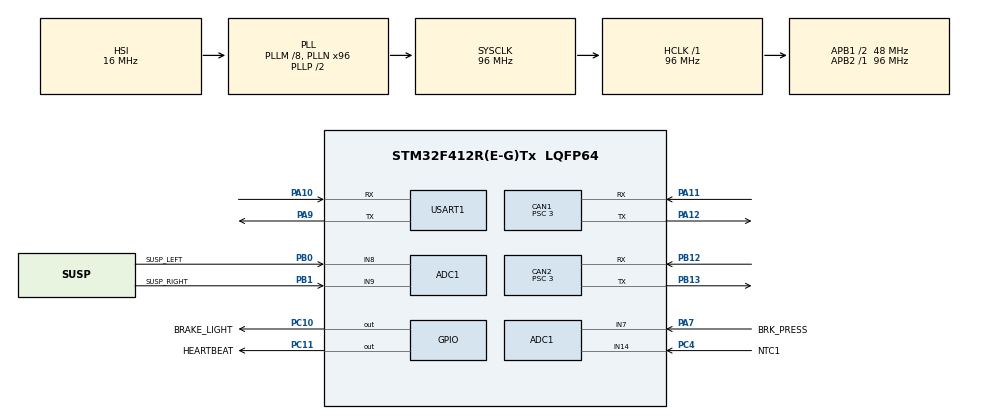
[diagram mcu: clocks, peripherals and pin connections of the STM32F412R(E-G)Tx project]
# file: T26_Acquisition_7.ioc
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ADC1.Channel-0\#ChannelRegularConversion=ADC_CHANNEL_7
ADC1.Channel-1\#ChannelRegularConversion=ADC_CHANNEL_8
ADC1.Channel-2\#ChannelRegularConversion=ADC_CHANNEL_9
ADC1.Channel-3\#ChannelRegularConversion=ADC_CHANNEL_14
ADC1.ContinuousConvMode=ENABLE
ADC1.DMAContinuousRequests=ENABLE
ADC1.NbrOfConversion=4
ADC1.NbrOfConversionFlag=1
ADC1.Rank-0\#ChannelRegularConversion=1
ADC1.Rank-1\#ChannelRegularConversion=2
ADC1.Rank-2\#ChannelRegularConversion=3
ADC1.Rank-3\#ChannelRegularConversion=4
ADC1.SamplingTime-0\#ChannelRegularConversion=ADC_SAMPLETIME_480CYCLES
ADC1.SamplingTime-1\#ChannelRegularConversion=ADC_SAMPLETIME_480CYCLES
ADC1.SamplingTime-2\#ChannelRegularConversion=ADC_SAMPLETIME_480CYCLES
ADC1.SamplingTime-3\#ChannelRegularConversion=ADC_SAMPLETIME_480CYCLES
ADC1.ScanConvMode=ENABLE
ADC1.master=1
CAN1.ABOM=ENABLE
CAN1.BS1=CAN_BS1_11TQ
CAN1.BS2=CAN_BS2_4TQ
CAN1.CalculateBaudRate=1000000
CAN1.CalculateTimeBit=1000
CAN1.CalculateTimeQuantum=62.5
CAN1.NART=ENABLE
CAN1.Prescaler=3
CAN1.SJW=CAN_SJW_2TQ
CAN2.ABOM=ENABLE
CAN2.BS1=CAN_BS1_13TQ
CAN2.BS2=CAN_BS2_2TQ
CAN2.CalculateBaudRate=1000000
CAN2.CalculateTimeBit=1000
CAN2.CalculateTimeQuantum=62.5
CAN2.NART=ENABLE
CAN2.Prescaler=3
CAN2.SJW=CAN_SJW_2TQ
Dma.ADC1.0.Direction=DMA_PERIPH_TO_MEMORY
Dma.ADC1.0.FIFOMode=DMA_FIFOMODE_DISABLE
Dma.ADC1.0.Instance=DMA2_Stream0
Dma.ADC1.0.MemDataAlignment=DMA_MDATAALIGN_HALFWORD
Dma.ADC1.0.MemInc=DMA_MINC_ENABLE
Dma.ADC1.0.Mode=DMA_CIRCULAR
Dma.ADC1.0.PeriphDataAlignment=DMA_PDATAALIGN_HALFWORD
Dma.ADC1.0.PeriphInc=DMA_PINC_DISABLE
Dma.ADC1.0.Priority=DMA_PRIORITY_LOW
Dma.Request0=ADC1
IWDG.Prescaler=IWDG_PRESCALER_64
IWDG.Reload=1000
Mcu.Family=STM32F4
Mcu.Name=STM32F412R(E-G)Tx
Mcu.Package=LQFP64
NVIC.CAN1_RX0_IRQn=true\:0\:0\:false\:false\:true\:true\:true\:true
NVIC.CAN1_RX1_IRQn=true\:0\:0\:false\:false\:true\:true\:true\:true
NVIC.CAN1_SCE_IRQn=true\:0\:0\:false\:false\:true\:true\:true\:true
NVIC.CAN1_TX_IRQn=true\:0\:0\:false\:false\:true\:true\:true\:true
NVIC.CAN2_RX0_IRQn=true\:0\:0\:false\:false\:true\:true\:true\:true
NVIC.CAN2_RX1_IRQn=true\:0\:0\:false\:false\:true\:true\:true\:true
NVIC.CAN2_SCE_IRQn=true\:0\:0\:false\:false\:true\:true\:true\:true
NVIC.CAN2_TX_IRQn=true\:0\:0\:false\:false\:true\:true\:true\:true
NVIC.DMA2_Stream0_IRQn=true\:0\:0\:false\:false\:true\:false\:true\:true
NVIC.PriorityGroup=NVIC_PRIORITYGROUP_4
NVIC.TIM7_IRQn=true\:0\:0\:false\:false\:true\:true\:true\:true
PA10.Mode=Asynchronous
PA10.Signal=USART1_RX
PA11.GPIO_PuPd=GPIO_PULLUP
PA11.Mode=CAN_Activate
PA11.Signal=CAN1_RX
PA12.Mode=CAN_Activate
PA12.Signal=CAN1_TX
PA13.Mode=Serial_Wire
PA13.Signal=SYS_JTMS-SWDIO
PA14.Mode=Serial_Wire
PA14.Signal=SYS_JTCK-SWCLK
PA7.GPIO_Label=BRK_PRESS
PA7.Signal=ADCx_IN7
PA9.Mode=Asynchronous
PA9.Signal=USART1_TX
PB0.GPIO_Label=SUSP_LEFT
PB0.Signal=ADCx_IN8
PB1.GPIO_Label=SUSP_RIGHT
PB1.Signal=ADCx_IN9
PB12.GPIO_PuPd=GPIO_PULLUP
PB12.Mode=CAN_Activate
PB12.Signal=CAN2_RX
PB13.Mode=CAN_Activate
PB13.Signal=CAN2_TX
PC10.GPIO_Label=BRAKE_LIGHT
PC10.Signal=GPIO_Output
PC11.GPIO_Label=HEARTBEAT
PC11.Signal=GPIO_Output
PC4.GPIO_Label=NTC1
PC4.Signal=ADCx_IN14
PH0\ -\ OSC_IN.Mode=HSE-External-Clock-Source
PH0\ -\ OSC_IN.Signal=RCC_OSC_IN
ProjectManager.HeapSize=0x200
ProjectManager.StackSize=0x400
ProjectManager.TargetToolchain=STM32CubeIDE
RCC.AHBFreq_Value=96000000
RCC.APB1CLKDivider=RCC_HCLK_DIV2
RCC.APB1Freq_Value=48000000
RCC.APB1TimFreq_Value=96000000
RCC.APB2Freq_Value=96000000
RCC.APB2TimFreq_Value=96000000
RCC.CortexFreq_Value=96000000
RCC.HCLKFreq_Value=96000000
RCC.HSE_VALUE=8000000
RCC.PLLM=8
RCC.PLLN=96
RCC.PLLSourceVirtual=RCC_PLLSOURCE_HSI
RCC.SYSCLKFreq_VALUE=96000000
RCC.SYSCLKSource=RCC_SYSCLKSOURCE_PLLCLK
RCC.USBFreq_Value=96000000
RCC.VCOOutputFreq_Value=192000000
SH.ADCx_IN14.0=ADC1_IN14,IN14
SH.ADCx_IN7.0=ADC1_IN7,IN7
SH.ADCx_IN8.0=ADC1_IN8,IN8
SH.ADCx_IN9.0=ADC1_IN9,IN9
TIM7.Period=999
TIM7.Prescaler=95
USART1.VirtualMode=VM_ASYNC
VP_IWDG_VS_IWDG.Mode=IWDG_Activate
VP_TIM7_VS_ClockSourceINT.Mode=Enable_Timer
board=custom

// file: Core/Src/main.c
/* USER CODE BEGIN Header */
/**
 ******************************************************************************
 * @file           : main.c
 * @brief          : Main program body
 ******************************************************************************
 * @attention
 *
 * Copyright (c) 2026 STMicroelectronics.
 * All rights reserved.
 *
 * This software is licensed under terms that can be found in the LICENSE file
 * in the root directory of this software component.
 * If no LICENSE file comes with this software, it is provided AS-IS.
 *
 ******************************************************************************
 */
/* USER CODE END Header */
#include "main.h"
#include "adc.h"
#include "can.h"
#include "dma.h"
#include "iwdg.h"
#include "tim.h"
#include "usart.h"
#include "gpio.h"

/* USER CODE BEGIN Includes */
#include <stdio.h>
#include <math.h>
#include <string.h>
#include "../DBC/data_t26.h"

/* USER CODE END Includes */

/* USER CODE BEGIN PV */
#define PRESSURE_LEVEL_FRONT 7   // brake light threshold (bar)
#define PRESSURE_LEVEL_REAR 7    // brake light threshold (bar)

volatile uint32_t time_ms = 0;

CAN_TxHeaderTypeDef TxHeader;
uint8_t TxData[8];

CAN_RxHeaderTypeDef RxHeader;
uint8_t RxData[8];

// Front brake pressure, received on CAN1 (0x710)
float BRK_PRESS_FRONT;         // bar, 0 while 0x710 is not arriving
uint16_t coded_front_pressure; // 0.1 bar/bit
volatile uint32_t front_last_rx_ms = 0;  // time_ms of the last 0x710 frame
uint8_t front_alive;                     // 1 while 0x710 arrives within FRONT_PRESSURE_TIMEOUT_MS

// 0x710 is only trusted while it keeps arriving (set to >= 3x the 0x710 period)
#define FRONT_PRESSURE_TIMEOUT_MS 500

// Analog sensors
float BRK_PRESS_REAR;   // Rear brake pressure (bar)
float SUSP_LEFT;        // Left suspension travel from ride height (mm): + extension, - compression
float SUSP_RIGHT;       // Right suspension travel from ride height (mm): + extension, - compression
float SUSP_LEFT_ZERO;   // Absolute position at boot = ride height (mm)
float SUSP_RIGHT_ZERO;
uint8_t susp_zeroed;    // 0 until the ride height is captured (~0.5 s after boot)

// Coolant NTCs: Vishay NTCAIMM66H, 10k @ 25 C, B25/85 = 3984 K.
// Board: 5 V -> NTC -> node A; node A has 100k to GND and 24.3k -> ADC pin (4.9k from the ADC pin to GND)
#define NTC_COUNT 1             // PC4 (ADC1_IN14); more NTCs = more ranks in the .ioc, then raise this
#define NTC_VSUPPLY 5.0f        // V, tune to the real 5 V rail
#define NTC_R_PULLDOWN 100000.0f
#define NTC_R_SERIES 24300.0f
#define NTC_R_BOTTOM 4900.0f
#define NTC_R25 10000.0f
#define NTC_B 3984.0f
#define NTC_FAULT_C (-99.0f)    // open (ADC = 0) or shorted sensor
float NTC_TEMP[NTC_COUNT];      // degC, from ADC_VALUE[3 + i]

#define ADC_CHANNELS (3 + NTC_COUNT)

// DATA bus (CAN2, 1 Mbit/s): AQT7 (0x770) packed with the cantools code in data_t26.c/.h (T26_DBC repo)
_Static_assert(NTC_COUNT == 1, "AQT7 in the DBC only has NTC_1: add the other NTCs to the DBC and to Data_SendSensors()");
uint16_t ADC_VALUE[ADC_CHANNELS];  // DMA target: [0] PA7 brake pressure, [1] PB0 susp left, [2] PB1 susp right, [3..] NTCs (PC4)
uint16_t brk_press_adc;
uint16_t susp_left_adc;
uint16_t susp_right_adc;

// ADC moving average
#define ADC_BUFFER_SIZE 10
uint16_t adc_buffers[ADC_CHANNELS][ADC_BUFFER_SIZE];
uint8_t adc_buffer_index = 0;
uint16_t adc_filtered[ADC_CHANNELS];

// Debug snapshot of the whole board: add "acq7" to STM32CubeIDE Live Expressions
typedef struct {
	uint32_t time_ms;           // uptime (ms)

	struct {
		uint16_t raw[ADC_CHANNELS];       // DMA samples: [0] PA7 brake pressure, [1] PB0 susp left, [2] PB1 susp right, [3..] NTCs
		uint16_t filtered[ADC_CHANNELS];  // moving average of ADC_BUFFER_SIZE samples
		float volts[ADC_CHANNELS];        // filtered value at the MCU pin (V)
	} adc;

	struct {
		float brake_rear_bar;
		float brake_front_bar;  // 0 while 0x710 is not arriving
		float susp_left_mm;
		float susp_right_mm;
		float ntc_c[NTC_COUNT]; // coolant temperature (degC), NTC_FAULT_C if open / shorted
	} sensors;

	struct {
		uint8_t brake_light;    // PC10 output level, 0 while braking (pressure >= PRESSURE_LEVEL)
		uint8_t heartbeat;      // PC11 output level
	} io;

	struct {
		uint16_t coded;         // 0x710 bytes 0-1, 0.1 bar/bit
		uint8_t alive;          // 1 while 0x710 arrives within FRONT_PRESSURE_TIMEOUT_MS
		uint32_t age_ms;        // time since the last 0x710
		uint32_t rx_count;      // 0x710 frames received
	} front;

	struct {
		uint8_t tx_770_autonomous[2]; // last payload queued on the Autonomous bus (CAN1, 0x770): rear brake pressure
		uint8_t tx_aqt7_data[DATA_T26_AQT7_LENGTH]; // last payload queued on the DATA bus (CAN2, AQT7): SUSP_L, SUSP_R, NTC_1
		CAN_BusStatus autonomous;     // CAN1
		CAN_BusStatus data;           // CAN2
	} can;
} Acq7_Debug;

Acq7_Debug acq7;

// Tasks Prototypes
void execute_immediate_tasks(void);
void execute_10ms_tasks(void);
void execute_50ms_tasks(void);
void execute_100ms_tasks(void);
void Acq7_DebugUpdate(void);
void Data_SendSensors(void);

/* USER CODE END PV */

void SystemClock_Config(void);
/* USER CODE BEGIN PFP */
void ADC_UpdateMovingAverage(void);
float MeasureSuspensionPosition(uint16_t bits);
float MeasureBrakePressure(uint16_t bits);
float MeasureNtcTemperature(uint16_t bits);

// printf -> USART1
int _write(int file, char *data, int len) {
	HAL_UART_Transmit(&huart1, (uint8_t*) data, len, HAL_MAX_DELAY);
	return len;
}

/* USER CODE END PFP */

/* USER CODE BEGIN 0 */
void HAL_TIM_PeriodElapsedCallback(TIM_HandleTypeDef *htim) {
	if (htim->Instance == TIM7) {
		time_ms++;
	}
}
/* USER CODE END 0 */

int main(void)
{

  /* MCU Configuration--------------------------------------------------------*/

  /* Reset of all peripherals, Initializes the Flash interface and the Systick. */
  HAL_Init();

  /* Configure the system clock */
  SystemClock_Config();

  /* Initialize all configured peripherals */
  MX_GPIO_Init();
  MX_DMA_Init();
  MX_CAN1_Init();
  MX_CAN2_Init();
  MX_USART1_UART_Init();
  MX_TIM7_Init();
  MX_ADC1_Init();
  MX_IWDG_Init();
  /* USER CODE BEGIN 2 */
	HAL_TIM_Base_Start_IT(&htim7);
	HAL_ADC_Start_DMA(&hadc1, (uint32_t*) ADC_VALUE, ADC_CHANNELS);

	for (int i = 0; i < ADC_CHANNELS; i++) {
		for (int j = 0; j < ADC_BUFFER_SIZE; j++) {
			adc_buffers[i][j] = 0;
		}
		adc_filtered[i] = 0;
	}

	// CAN filters, start and RX notification are done in MX_CANx_Init (CAN_Config)
  /* USER CODE END 2 */

  /* Infinite loop */
	while (1) {

    /* USER CODE BEGIN 3 */

		// Execute immediate tasks
		execute_immediate_tasks();

		static uint32_t previus_tick_10ms = 0;
		static uint32_t previus_tick_50ms = 0;
		static uint32_t previus_tick_100ms = 0;
		static uint32_t previus_tick_125ms = 0;

		// Execute 10ms Tasks
		if (time_ms - previus_tick_10ms >= 10) {
			execute_10ms_tasks();
			previus_tick_10ms = time_ms;
		}

		// Execute 50ms Tasks
		if (time_ms - previus_tick_50ms >= 50) {
			execute_50ms_tasks();
			previus_tick_50ms = time_ms;
		}

		// Execute 100ms Tasks
		if (time_ms - previus_tick_100ms >= 100) {
			execute_100ms_tasks();
			previus_tick_100ms = time_ms;
		}

		// DATA bus (CAN2) AQT7 at 8 Hz: suspension and NTCs (values refreshed every 50 ms)
		if (time_ms - previus_tick_125ms >= 125) {
			Data_SendSensors();
			previus_tick_125ms = time_ms;
		}
	}

  /* USER CODE END 3 */
}

void SystemClock_Config(void)
{
  RCC_OscInitTypeDef RCC_OscInitStruct = {0};
  RCC_ClkInitTypeDef RCC_ClkInitStruct = {0};

  /** Configure the main internal regulator output voltage
  */
  __HAL_RCC_PWR_CLK_ENABLE();
  __HAL_PWR_VOLTAGESCALING_CONFIG(PWR_REGULATOR_VOLTAGE_SCALE1);

  /** Initializes the RCC Oscillators according to the specified parameters
  * in the RCC_OscInitTypeDef structure.
  */
  RCC_OscInitStruct.OscillatorType = RCC_OSCILLATORTYPE_LSI|RCC_OSCILLATORTYPE_HSI;
  RCC_OscInitStruct.HSIState = RCC_HSI_ON;
  RCC_OscInitStruct.HSICalibrationValue = RCC_HSICALIBRATION_DEFAULT;
  RCC_OscInitStruct.LSIState = RCC_LSI_ON;
  RCC_OscInitStruct.PLL.PLLState = RCC_PLL_ON;
  RCC_OscInitStruct.PLL.PLLSource = RCC_PLLSOURCE_HSI;
  RCC_OscInitStruct.PLL.PLLM = 8;
  RCC_OscInitStruct.PLL.PLLN = 96;
  RCC_OscInitStruct.PLL.PLLP = RCC_PLLP_DIV2;
  RCC_OscInitStruct.PLL.PLLQ = 2;
  RCC_OscInitStruct.PLL.PLLR = 2;
  if (HAL_RCC_OscConfig(&RCC_OscInitStruct) != HAL_OK)
  {
    Error_Handler();
  }

  /** Initializes the CPU, AHB and APB buses clocks
  */
  RCC_ClkInitStruct.ClockType = RCC_CLOCKTYPE_HCLK|RCC_CLOCKTYPE_SYSCLK
                              |RCC_CLOCKTYPE_PCLK1|RCC_CLOCKTYPE_PCLK2;
  RCC_ClkInitStruct.SYSCLKSource = RCC_SYSCLKSOURCE_PLLCLK;
  RCC_ClkInitStruct.AHBCLKDivider = RCC_SYSCLK_DIV1;
  RCC_ClkInitStruct.APB1CLKDivider = RCC_HCLK_DIV2;
  RCC_ClkInitStruct.APB2CLKDivider = RCC_HCLK_DIV1;

  if (HAL_RCC_ClockConfig(&RCC_ClkInitStruct, FLASH_LATENCY_3) != HAL_OK)
  {
    Error_Handler();
  }
}

/* USER CODE BEGIN 4 */
void execute_immediate_tasks() {

}
void execute_10ms_tasks() {
	HAL_IWDG_Refresh(&hiwdg);

	brk_press_adc = adc_filtered[0];
	susp_left_adc = adc_filtered[1];
	susp_right_adc = adc_filtered[2];

	// CAN health check every 10 ms, restart max every 100 ms (see canX_status / acq7.can)
	CAN_Service(CAN_AUTONOMOUS);
	CAN_Service(CAN_DATA);

	Acq7_DebugUpdate();
}
void execute_50ms_tasks() {

	ADC_UpdateMovingAverage();

	BRK_PRESS_REAR = MeasureBrakePressure(brk_press_adc);

	// Ride height: the position once the moving average is first full (index wraps to 0
	// after ADC_BUFFER_SIZE updates) is 0 mm. Sends 0 until then.
	float susp_left_abs = MeasureSuspensionPosition(adc_filtered[1]);
	float susp_right_abs = MeasureSuspensionPosition(adc_filtered[2]);
	if (!susp_zeroed && adc_buffer_index == 0) {
		SUSP_LEFT_ZERO = susp_left_abs;
		SUSP_RIGHT_ZERO = susp_right_abs;
		susp_zeroed = 1;
	}
	// Sign convention (sent as SUSP_L / SUSP_R on the DATA bus):
	//   positive (+) = EXTENSION   (wheel drops, suspension opens past ride height)
	//   negative (-) = COMPRESSION (wheel rises, suspension closes past ride height)
	// The sensor voltage goes DOWN when the suspension extends on this car, hence ZERO - abs.
	SUSP_LEFT = susp_zeroed ? SUSP_LEFT_ZERO - susp_left_abs : 0.0f;
	SUSP_RIGHT = susp_zeroed ? SUSP_RIGHT_ZERO - susp_right_abs : 0.0f;

	for (int i = 0; i < NTC_COUNT; i++) {
		NTC_TEMP[i] = MeasureNtcTemperature(adc_filtered[3 + i]);
	}

	uint16_t brake = (uint16_t) (BRK_PRESS_REAR * 10.0f);      // 0.1 bar/bit

	// Autonomous bus (CAN1) - 0x770: rear brake pressure
	TxHeader.IDE = CAN_ID_STD;
	TxHeader.StdId = 0x770;
	TxHeader.RTR = CAN_RTR_DATA;
	TxHeader.DLC = 2;

	TxData[0] = brake & 0xFF;
	TxData[1] = (brake >> 8) & 0xFF;

	// A failed send is counted in can1_status and handled by CAN_Service, never fatal
	memcpy(acq7.can.tx_770_autonomous, TxData, sizeof(acq7.can.tx_770_autonomous));
	CAN_Send(CAN_AUTONOMOUS, &TxHeader, TxData);

	// Front brake pressure (Autonomous bus, CAN1 0x710, 0.1 bar/bit). Forced to 0 if 0x710 stopped arriving,
	// so the brake light then follows the rear pressure only.
	front_alive = (time_ms - front_last_rx_ms) <= FRONT_PRESSURE_TIMEOUT_MS;
	if (front_alive) {
		BRK_PRESS_FRONT = coded_front_pressure * 0.1;
	} else {
		BRK_PRESS_FRONT = 0.0f;
	}

	// Brake light: output low while either circuit is at PRESSURE_LEVEL or more

	if ((BRK_PRESS_REAR >= PRESSURE_LEVEL_REAR)
			|| (BRK_PRESS_FRONT >= PRESSURE_LEVEL_FRONT)) {
		HAL_GPIO_WritePin(BRAKE_LIGHT_GPIO_Port, BRAKE_LIGHT_Pin, GPIO_PIN_RESET);
	} else {
		HAL_GPIO_WritePin(BRAKE_LIGHT_GPIO_Port, BRAKE_LIGHT_Pin, GPIO_PIN_SET);
	}
}
void execute_100ms_tasks() {
	HAL_GPIO_TogglePin(HEARTBEAT_GPIO_Port, HEARTBEAT_Pin); // HEARTBEAT

	printf("A pressao traseira é %.2f bar e adc é %d\n", BRK_PRESS_REAR, brk_press_adc);

	printf("A pressao da frente é %.2f bar e %d\n", BRK_PRESS_FRONT, coded_front_pressure);

	printf("A suspensao esquerda é %.2f mm e adc é %d\n", SUSP_LEFT, susp_left_adc);

	printf("A suspensao direita é %.2f mm e adc é %d\n", SUSP_RIGHT, susp_right_adc);

	for (int i = 0; i < NTC_COUNT; i++) {
		printf("A NTC%d está a %.1f C e adc é %d\n", i + 1, NTC_TEMP[i], adc_filtered[3 + i]);
	}

}

// DATA bus (CAN2) transmit: a failed send is counted in can2_status and handled by CAN_Service
void Data_SendSensors(void) {
	CAN_TxHeaderTypeDef header = { .IDE = CAN_ID_STD, .RTR = CAN_RTR_DATA,
			.StdId = DATA_T26_AQT7_FRAME_ID, .DLC = DATA_T26_AQT7_LENGTH };
	struct data_t26_aqt7_t aqt7;
	uint8_t data[DATA_T26_AQT7_LENGTH];

	aqt7.susp_l = data_t26_aqt7_susp_l_encode(SUSP_LEFT);
	aqt7.susp_r = data_t26_aqt7_susp_r_encode(SUSP_RIGHT);
	// NTC_1 is uint8, 1 degC/bit: rounded and clamped to 0..254, 255 = open / shorted sensor
	if (NTC_TEMP[0] <= NTC_FAULT_C) {
		aqt7.ntc_1 = 255;
	} else {
		float t = NTC_TEMP[0];
		t = (t < 0.0f) ? 0.0f : ((t > 254.0f) ? 254.0f : t);
		aqt7.ntc_1 = data_t26_aqt7_ntc_1_encode(t + 0.5f);
	}

	if (data_t26_aqt7_pack(data, &aqt7, sizeof(data)) < 0) {
		return;
	}

	memcpy(acq7.can.tx_aqt7_data, data, sizeof(data));
	CAN_Send(CAN_DATA, &header, data);
}

void HAL_CAN_RxFifo0MsgPendingCallback(CAN_HandleTypeDef *hcan) {
	// Never fatal: a frame that cannot be read is skipped
	if (HAL_CAN_GetRxMessage(hcan, CAN_RX_FIFO0, &RxHeader, RxData) != HAL_OK) {
		return;
	}
	if ((RxHeader.StdId == 0x710) && (RxHeader.IDE == CAN_ID_STD)) {
		coded_front_pressure = RxData[1] << 8 | RxData[0];
		front_last_rx_ms = time_ms;
		acq7.front.rx_count++;
	}
}

// Copies everything into acq7 for Live Expressions (called every 10 ms)
void Acq7_DebugUpdate(void) {
	uint32_t now = time_ms;

	acq7.time_ms = now;

	for (int i = 0; i < ADC_CHANNELS; i++) {
		acq7.adc.raw[i] = ADC_VALUE[i];
		acq7.adc.filtered[i] = adc_filtered[i];
		acq7.adc.volts[i] = adc_filtered[i] * 3.3f / 4095.0f;
	}

	acq7.sensors.brake_rear_bar = BRK_PRESS_REAR;
	acq7.sensors.brake_front_bar = BRK_PRESS_FRONT;
	acq7.sensors.susp_left_mm = SUSP_LEFT;
	acq7.sensors.susp_right_mm = SUSP_RIGHT;
	for (int i = 0; i < NTC_COUNT; i++) {
		acq7.sensors.ntc_c[i] = NTC_TEMP[i];
	}

	acq7.io.brake_light = HAL_GPIO_ReadPin(BRAKE_LIGHT_GPIO_Port, BRAKE_LIGHT_Pin);
	acq7.io.heartbeat = HAL_GPIO_ReadPin(HEARTBEAT_GPIO_Port, HEARTBEAT_Pin);

	acq7.front.coded = coded_front_pressure;
	acq7.front.alive = front_alive;
	acq7.front.age_ms = now - front_last_rx_ms;

	acq7.can.autonomous = can1_status;
	acq7.can.data = can2_status;
}

void ADC_UpdateMovingAverage(void) {

	for (int channel = 0; channel < ADC_CHANNELS; channel++) {
		// Latest sample into the circular buffer
		adc_buffers[channel][adc_buffer_index] = ADC_VALUE[channel];

		// Average of the last ADC_BUFFER_SIZE samples
		uint32_t sum = 0;
		for (int i = 0; i < ADC_BUFFER_SIZE; i++) {
			sum += adc_buffers[channel][i];
		}

		adc_filtered[channel] = (uint16_t) (sum / ADC_BUFFER_SIZE);
	}

	// Next buffer position
	adc_buffer_index = (adc_buffer_index + 1) % ADC_BUFFER_SIZE;
}
float MeasureBrakePressure(uint16_t bits) {
	// Bosch 0 261 545 053: GAUGE pressure (0 bar = atmosphere, so 0 bar at rest), 0.5-4.5 V for 0-140 bar, 5 V supply.
	// The board divider does not attenuate: PA7 sees the sensor output ~1:1 (with 0.667 the rest read ~10 bar).
	// At rest (pedal released) PA7 reads ~0.61 V instead of the nominal 0.5 V (~4 bar too much). A divider can only
	// lower a voltage, so this is not the divider: it is the sensor's own offset, a sensor/board ground shift or residual
	// line pressure. OFFSET_VOLTAGE removes it. It has drifted before (0.52 V on 03-10), re-check it after harness work.
	// ponytail: ADC tops out at 3.3 V = ~98 bar; above that PA7 also exceeds its 3.6 V max. Fix the divider, then set its ratio here.
	const float ADC_MAX = 4095.0f;
	const float MCU_VREF = 3.3f;
	const float SENSOR_VREF = 5.0f;
	const float CONVERSION_FACTOR = 1.0f;  // V_PA7 / V_sensor, measure both at rest to tune
	const float OFFSET_VOLTAGE = 0.614f;   // PA7 volts at 0 bar: pedal released, copy acq7.adc.volts[0] here to re-zero
	const float SENSITIVITY = 0.02857f;    // V/bar

	// Voltage at the MCU pin
	float volts = (float) bits * MCU_VREF / ADC_MAX;

	// Voltage at the sensor output
	volts = volts / CONVERSION_FACTOR;

	// Clamp to the sensor supply range
	if (volts < 0.0f) {
		volts = 0.0f;
	} else if (volts > SENSOR_VREF) {
		volts = SENSOR_VREF;
	}

	// Below the 0.5 V offset the pressure is 0

	float pressure = 0.0f;
	if (volts <= OFFSET_VOLTAGE) {
		pressure = 0.0f;
	} else {
		pressure = (volts - OFFSET_VOLTAGE) / SENSITIVITY;
	}

	// Sensor full scale
	const float MAX_PRESSURE = 140.0f;
	if (pressure > MAX_PRESSURE) {
		pressure = MAX_PRESSURE;
	}

	return pressure;
}
float MeasureSuspensionPosition(uint16_t bits) {
	// Linear potentiometer: 75 mm electrical stroke, 5 V supply, 5 V -> 3.3 V divider
	float V_SUSP;
	float sensor_voltage = 5.0f;
	float MCU_voltage = 3.3f;
	float Electrical_stroke = 75.0f;
	float SUSPENSION_POSITION;
	float Conversion_Factor = MCU_voltage / sensor_voltage;
	float volts;

	V_SUSP = (float)(bits * MCU_voltage / 4095.0f);
	volts = V_SUSP / Conversion_Factor;

	SUSPENSION_POSITION = (Electrical_stroke * volts) / sensor_voltage;

	return SUSPENSION_POSITION;
}
float MeasureNtcTemperature(uint16_t bits) {
	// Voltage at the MCU pin, then back up through the 24.3k / 4.9k divider to node A
	float v_pin = (float) bits * 3.3f / 4095.0f;
	float v_a = v_pin * (NTC_R_SERIES + NTC_R_BOTTOM) / NTC_R_BOTTOM;

	// Open sensor (pulled to 0 V) or shorted sensor (node A at the full supply)
	if (bits == 0 || v_a >= NTC_VSUPPLY) {
		return NTC_FAULT_C;
	}

	// Node A sees the 100k pull-down in parallel with the 24.3k + 4.9k branch
	float r_branch = NTC_R_SERIES + NTC_R_BOTTOM;
	float r_low = (NTC_R_PULLDOWN * r_branch) / (NTC_R_PULLDOWN + r_branch);

	// v_a = VSUPPLY * r_low / (r_ntc + r_low)
	float r_ntc = r_low * (NTC_VSUPPLY - v_a) / v_a;

	// Beta equation around 25 C
	const float T25_K = 298.15f;
	float inv_t = 1.0f / T25_K + logf(r_ntc / NTC_R25) / NTC_B;

	return 1.0f / inv_t - 273.15f;
}
/* USER CODE END 4 */

void Error_Handler(void)
{
	__disable_irq();
	while (1) {
	}
}
